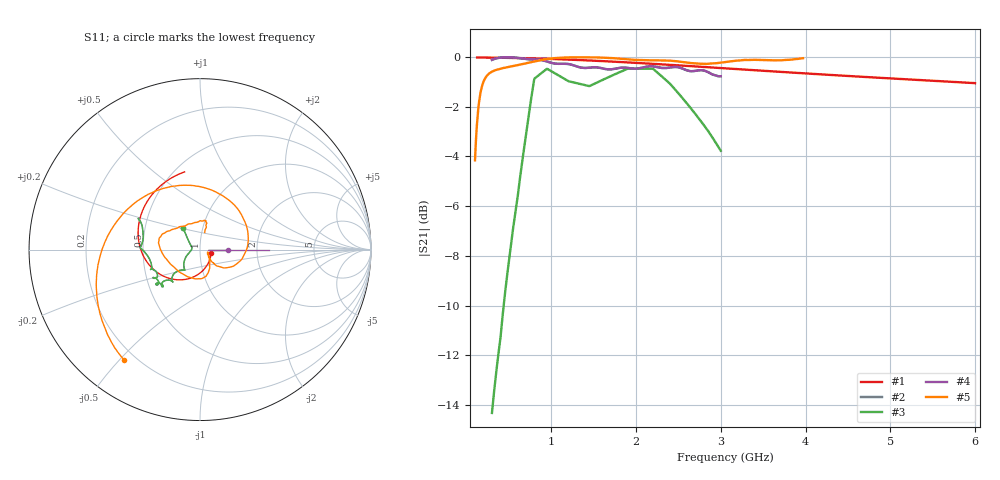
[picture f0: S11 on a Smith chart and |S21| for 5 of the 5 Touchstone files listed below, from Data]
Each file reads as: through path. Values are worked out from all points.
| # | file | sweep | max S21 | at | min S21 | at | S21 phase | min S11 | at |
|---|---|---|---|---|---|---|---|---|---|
| 1 | ADRV9009_ORX.s2p | 125 MHz to 6 GHz | -0.02 dB | 125 MHz | -1.1 dB | 6 GHz | 102 deg at 3.125 GHz | -23.3 dB | 125 MHz |
| 2 | dummy.s2p | 300 MHz to 3 GHz | -0.01 dB | 482.2 MHz | -0.8 dB | 2.993 GHz | 128 deg at 1.65 GHz | -26.4 dB | 482.2 MHz |
| 3 | dummy_G.s2p | 300 MHz to 3 GHz | -0.47 dB | 1.974 GHz | -14.3 dB | 300 MHz | 128 deg at 1.65 GHz | -26.4 dB | 482.2 MHz |
| 4 | dummyht.S2P | 300 MHz to 3 GHz | -0.01 dB | 482.2 MHz | -0.8 dB | 2.993 GHz | 19 deg at 1.65 GHz | -26.4 dB | 482.2 MHz |
| 5 | SL511_R1_2_U1_Att00_dummy1.s2p | 100 MHz to 3.971 GHz | -0.01 dB | 1.342 GHz | -4.2 dB | 100 MHz | -97 deg at 632.5 MHz | -26.7 dB | 1.342 GHz |
